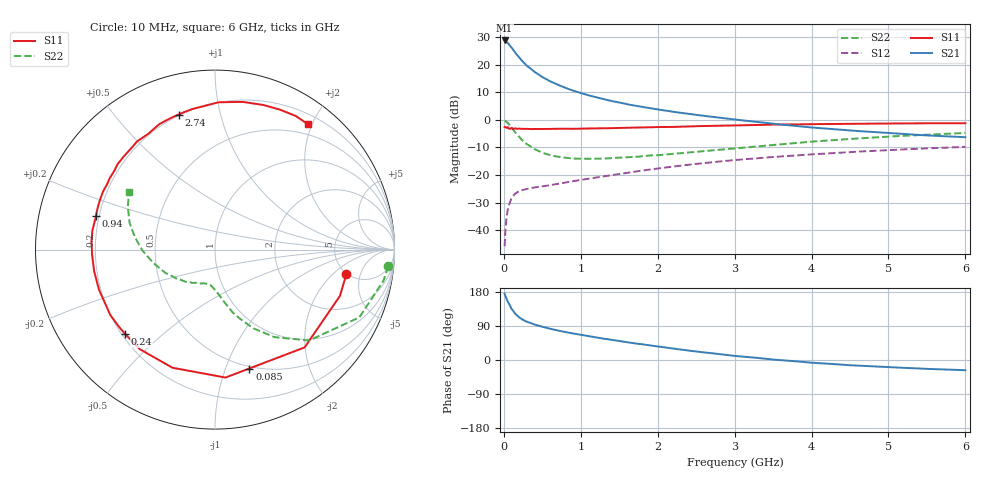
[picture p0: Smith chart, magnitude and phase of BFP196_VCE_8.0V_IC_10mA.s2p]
! Infineon Technologies  Discrete & RF Semiconductors
! BFP196
! VCE = 8.0 V,  IC =  10mA
! Common Emitter S-Parameters:  Jan 2016
# GHz  S  MA  R  50
!  f  S11  S21  S12  S22
! GHz  MAG  ANG  MAG  ANG  MAG  ANG  MAG  ANG
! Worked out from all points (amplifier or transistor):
!   210 points, 10 MHz to 6 GHz, reference 50 ohm
!   highest |S21| = 28.8 dB at 10 MHz (marker M1)
!   |S21| within 3 dB of that: start of sweep to 112.2 MHz
!   unconditionally stable (mu >= 1): 917.2 MHz to 3.425 GHz
!   at 185 MHz: K = 0.30, MSG = 24.6 dB, |S12| = -26.1 dB
!   at 1.52 GHz: K = 1.14, MAG = 10.6 dB, |S12| = -19.6 dB
!   at 6 GHz: K = 0.96, MSG = 1.8 dB, |S12| = -9.8 dB
!   S11 on the Smith chart (normalised r, x): 10 MHz: 4.97, -3.00; 85 MHz: 0.48, -1.21; 240 MHz: 0.21, -0.38; 940 MHz: 0.19, +0.13; 2.74 GHz: 0.19, +0.75; 6 GHz: 0.34, +1.94
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0.01  0.7446 -10.4  27.65 175.2  0.0051 89.6  0.9701 -5.5
0.02  0.7425 -20.3  26.84 168.8  0.0098 78.2  0.9544 -10.5
0.05  0.7392 -47.5  25.11 154.2  0.0231 67.9  0.8885 -25.1
0.085  0.6895 -73.9  21.74 141.4  0.0335 55.4  0.7675 -37.5
0.1  0.7153 -85.3  20.7 134.8  0.0383 52.2  0.7292 -44.0
0.15  0.6996 -109.8  16.43 121.4  0.0463 42.9  0.5898 -55.8
0.2  0.6951 -127.1  13.52 112.3  0.0506 37.7  0.4878 -64.0
0.24  0.6867 -136.8  11.68 107.1  0.053 35.4  0.4268 -68.6
0.3  0.6878 -148.0  9.591 100.8  0.0557 33.7  0.3634 -74.3
0.4  0.6839 -161.0  7.424 93.4  0.0595 32.7  0.2946 -80.2
0.5  0.684 -169.9  5.993 87.5  0.0621 33.7  0.2535 -84.8
0.6  0.6852 -177.5  5.037 82.4  0.0653 34.8  0.2297 -88.8
0.7  0.6897 176.2  4.35 77.6  0.0689 36.1  0.2147 -92.0
0.94  0.6894 164.1  3.259 68.6  0.0788 39.2  0.1982 -98.8
1.02  0.694 160.2  3.012 65.7  0.0821 39.8  0.197 -101.1
1.4  0.7088 145.7  2.199 53.3  0.0991 42.5  0.2023 -111.0
2.02  0.7427 125.3  1.532 35.2  0.1323 42.5  0.2296 -128.4
2.74  0.7796 105.1  1.124 17.0  0.1721 37.9  0.2804 -148.1
3.1  0.7968 96.9  0.981 9.1  0.1915 34.5  0.3121 -157.4
4.1  0.8385 77.8  0.71 -8.3  0.241 24.3  0.4114 178.9
5.1  0.861 63.8  0.566 -19.8  0.2868 13.3  0.5061 160.7
6  0.8697 53.4  0.485 -26.9  0.3237 2.7  0.5782 146.0
